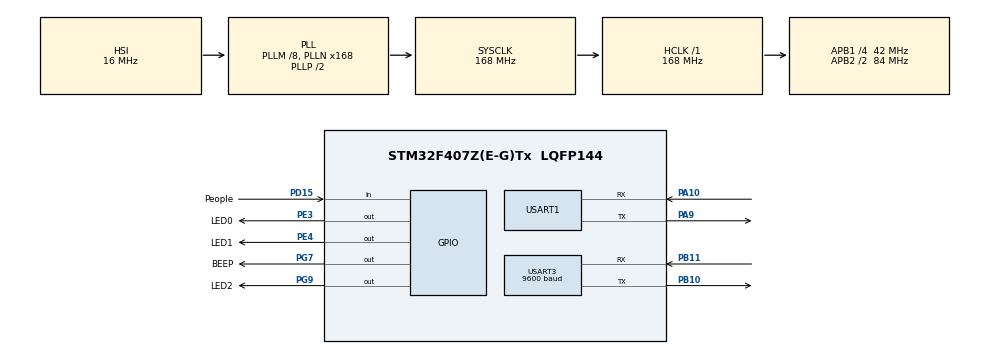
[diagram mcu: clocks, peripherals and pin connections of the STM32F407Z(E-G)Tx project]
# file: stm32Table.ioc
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FREERTOS.Tasks01=defaultTask,-2,128,StartDefaultTask,Default,NULL,Dynamic,NULL,NULL;PeopleTask,1,128,PeopleTaskFunc,Default,NULL,Dynamic,NULL,NULL;BlueTask,0,128,BlueTaskFunc,Default,NULL,Dynamic,NULL,NULL;LEDTask,0,128,LEDTask04,Default,NULL,Dynamic,NULL,NULL;BEEPTask,0,128,BEEPTask05,Default,NULL,Dynamic,NULL,NULL
Mcu.Family=STM32F4
Mcu.Name=STM32F407Z(E-G)Tx
Mcu.Package=LQFP144
NVIC.PriorityGroup=NVIC_PRIORITYGROUP_4
NVIC.USART3_IRQn=true\:5\:0\:false\:false\:true\:true\:true\:true
PA10.Mode=Asynchronous
PA10.Signal=USART1_RX
PA9.Mode=Asynchronous
PA9.Signal=USART1_TX
PB10.Mode=Asynchronous
PB10.Signal=USART3_TX
PB11.Mode=Asynchronous
PB11.Signal=USART3_RX
PD15.GPIO_Label=People
PD15.Signal=GPIO_Input
PE3.GPIO_Label=LED0
PE3.GPIO_Speed=GPIO_SPEED_FREQ_HIGH
PE3.Signal=GPIO_Output
PE4.GPIO_Label=LED1
PE4.GPIO_Speed=GPIO_SPEED_FREQ_HIGH
PE4.Signal=GPIO_Output
PG7.GPIO_Label=BEEP
PG7.Signal=GPIO_Output
PG9.GPIO_Label=LED2
PG9.GPIO_Speed=GPIO_SPEED_FREQ_HIGH
PG9.Signal=GPIO_Output
ProjectManager.HeapSize=0x200
ProjectManager.StackSize=0x400
ProjectManager.TargetToolchain=MDK-ARM V5.27
RCC.48MHZClocksFreq_Value=84000000
RCC.AHBFreq_Value=168000000
RCC.APB1CLKDivider=RCC_HCLK_DIV4
RCC.APB1Freq_Value=42000000
RCC.APB1TimFreq_Value=84000000
RCC.APB2CLKDivider=RCC_HCLK_DIV2
RCC.APB2Freq_Value=84000000
RCC.APB2TimFreq_Value=168000000
RCC.CortexFreq_Value=168000000
RCC.HCLKFreq_Value=168000000
RCC.HSE_VALUE=25000000
RCC.HSI_VALUE=16000000
RCC.LSE_VALUE=32768
RCC.PLLM=8
RCC.PLLN=168
RCC.SYSCLKFreq_VALUE=168000000
RCC.SYSCLKSource=RCC_SYSCLKSOURCE_PLLCLK
RCC.VCOOutputFreq_Value=336000000
USART1.VirtualMode=VM_ASYNC
USART3.BaudRate=9600
USART3.VirtualMode=VM_ASYNC
VP_FREERTOS_VS_CMSIS_V1.Mode=CMSIS_V1
board=custom

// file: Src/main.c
/* USER CODE BEGIN Header */
/**
  ******************************************************************************
  * @file           : main.c
  * @brief          : Main program body
  ******************************************************************************
  * @attention
  *
  * <h2><center>&copy; Copyright (c) 2020 STMicroelectronics.
  * All rights reserved.</center></h2>
  *
  * This software component is licensed by ST under BSD 3-Clause license,
  * the "License"; You may not use this file except in compliance with the
  * License. You may obtain a copy of the License at:
  *                        opensource.org/licenses/BSD-3-Clause
  *
  ******************************************************************************
  */
/* USER CODE END Header */

#include "main.h"
#include "cmsis_os.h"
#include "usart.h"
#include "gpio.h"

/* USER CODE BEGIN Includes */
#include "string.h"
#include "blue.h"
#include "stdio.h"
/* USER CODE END Includes */

void SystemClock_Config(void);
void MX_FREERTOS_Init(void);

int main(void)
{

  /* MCU Configuration--------------------------------------------------------*/

  /* Reset of all peripherals, Initializes the Flash interface and the Systick. */
  HAL_Init();

  /* Configure the system clock */
  SystemClock_Config();

  /* Initialize all configured peripherals */
  MX_GPIO_Init();
  MX_USART1_UART_Init();
  MX_USART3_UART_Init();
  /* USER CODE BEGIN 2 */
  /* config=1时为AT模式,进行密码与名字更改. config=2时正常收发 */
	int config = 2;
	printf("若不想更改蓝牙名和密码,请直接让config=2,该蓝牙密码为123456");
	printf("模式一(AT模式)：config=1时进入该模式,在板子上电之前按住按键(不要松开)，\
          在板子上电后松开按键，此时灯2s闪烁一次,at指令发送更改完名字密码之后，重启板子\r\n");
	printf("模式二(正常发送)：config=2时进入该模式，配对时灯闪烁很快,波特率为9600,什么都不用管，正常收发\r\n");
	printf("当前模式为config=%d,注意\r\n",config);
	if(config==1)
	{
		while(blue_config()==1);
		printf("请更改代码,让config=2，刷入代码后，断电重启！！ 按复位键不行\r\n");
		while(1);
	}

  /* USER CODE END 2 */

  /* Call init function for freertos objects (in freertos.c) */
  MX_FREERTOS_Init();
  /* Start scheduler */
  osKernelStart();

  /* We should never get here as control is now taken by the scheduler */
  /* Infinite loop */
  while (1)
  {

  }
}

void SystemClock_Config(void)
{
  RCC_OscInitTypeDef RCC_OscInitStruct = {0};
  RCC_ClkInitTypeDef RCC_ClkInitStruct = {0};

  /** Configure the main internal regulator output voltage
  */
  __HAL_RCC_PWR_CLK_ENABLE();
  __HAL_PWR_VOLTAGESCALING_CONFIG(PWR_REGULATOR_VOLTAGE_SCALE1);
  /** Initializes the CPU, AHB and APB busses clocks
  */
  RCC_OscInitStruct.OscillatorType = RCC_OSCILLATORTYPE_HSI;
  RCC_OscInitStruct.HSIState = RCC_HSI_ON;
  RCC_OscInitStruct.HSICalibrationValue = RCC_HSICALIBRATION_DEFAULT;
  RCC_OscInitStruct.PLL.PLLState = RCC_PLL_ON;
  RCC_OscInitStruct.PLL.PLLSource = RCC_PLLSOURCE_HSI;
  RCC_OscInitStruct.PLL.PLLM = 8;
  RCC_OscInitStruct.PLL.PLLN = 168;
  RCC_OscInitStruct.PLL.PLLP = RCC_PLLP_DIV2;
  RCC_OscInitStruct.PLL.PLLQ = 4;
  if (HAL_RCC_OscConfig(&RCC_OscInitStruct) != HAL_OK)
  {
    Error_Handler();
  }
  /** Initializes the CPU, AHB and APB busses clocks
  */
  RCC_ClkInitStruct.ClockType = RCC_CLOCKTYPE_HCLK|RCC_CLOCKTYPE_SYSCLK
                              |RCC_CLOCKTYPE_PCLK1|RCC_CLOCKTYPE_PCLK2;
  RCC_ClkInitStruct.SYSCLKSource = RCC_SYSCLKSOURCE_PLLCLK;
  RCC_ClkInitStruct.AHBCLKDivider = RCC_SYSCLK_DIV1;
  RCC_ClkInitStruct.APB1CLKDivider = RCC_HCLK_DIV4;
  RCC_ClkInitStruct.APB2CLKDivider = RCC_HCLK_DIV2;

  if (HAL_RCC_ClockConfig(&RCC_ClkInitStruct, FLASH_LATENCY_5) != HAL_OK)
  {
    Error_Handler();
  }
}

void Error_Handler(void)
{
}

/************************ (C) COPYRIGHT STMicroelectronics *****END OF FILE****/

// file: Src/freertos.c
/* USER CODE BEGIN Header */
/**
  ******************************************************************************
  * File Name          : freertos.c
  * Description        : Code for freertos applications
  ******************************************************************************
  * @attention
  *
  * <h2><center>&copy; Copyright (c) 2020 STMicroelectronics.
  * All rights reserved.</center></h2>
  *
  * This software component is licensed by ST under Ultimate Liberty license
  * SLA0044, the "License"; You may not use this file except in compliance with
  * the License. You may obtain a copy of the License at:
  *                             www.st.com/SLA0044
  *
  ******************************************************************************
  */
/* USER CODE END Header */

#include "FreeRTOS.h"
#include "task.h"
#include "main.h"
#include "cmsis_os.h"

/* USER CODE BEGIN Includes */
#include "stdio.h"
#include "usart.h"
#include "string.h"
#include "blue.h"
/* USER CODE END Includes */

/* USER CODE BEGIN PTD */

//ИЛМе
int IsPeople = 0;
//led
int led = 1;
//beep
int beep = 0;
//blue
char txbuf[100];
/* USER CODE END PTD */

osThreadId defaultTaskHandle;
osThreadId PeopleTaskHandle;
osThreadId BlueTaskHandle;
osThreadId LEDTaskHandle;
osThreadId BEEPTaskHandle;

void StartDefaultTask(void const * argument);
void PeopleTaskFunc(void const * argument);
void BlueTaskFunc(void const * argument);
void LEDTask04(void const * argument);
void BEEPTask05(void const * argument);

void MX_FREERTOS_Init(void); /* (MISRA C 2004 rule 8.1) */

/* GetIdleTaskMemory prototype (linked to static allocation support) */
void vApplicationGetIdleTaskMemory( StaticTask_t **ppxIdleTaskTCBBuffer, StackType_t **ppxIdleTaskStackBuffer, uint32_t *pulIdleTaskStackSize );

/* USER CODE BEGIN GET_IDLE_TASK_MEMORY */
static StaticTask_t xIdleTaskTCBBuffer;
static StackType_t xIdleStack[configMINIMAL_STACK_SIZE];

void vApplicationGetIdleTaskMemory( StaticTask_t **ppxIdleTaskTCBBuffer, StackType_t **ppxIdleTaskStackBuffer, uint32_t *pulIdleTaskStackSize )
{
  *ppxIdleTaskTCBBuffer = &xIdleTaskTCBBuffer;
  *ppxIdleTaskStackBuffer = &xIdleStack[0];
  *pulIdleTaskStackSize = configMINIMAL_STACK_SIZE;
  /* place for user code */
}
/* USER CODE END GET_IDLE_TASK_MEMORY */

void MX_FREERTOS_Init(void) {

  /* Create the thread(s) */
  /* definition and creation of defaultTask */
  osThreadDef(defaultTask, StartDefaultTask, osPriorityLow, 0, 128);
  defaultTaskHandle = osThreadCreate(osThread(defaultTask), NULL);

  /* definition and creation of PeopleTask */
  osThreadDef(PeopleTask, PeopleTaskFunc, osPriorityAboveNormal, 0, 128);
  PeopleTaskHandle = osThreadCreate(osThread(PeopleTask), NULL);

  /* definition and creation of BlueTask */
  osThreadDef(BlueTask, BlueTaskFunc, osPriorityNormal, 0, 128);
  BlueTaskHandle = osThreadCreate(osThread(BlueTask), NULL);

  /* definition and creation of LEDTask */
  osThreadDef(LEDTask, LEDTask04, osPriorityNormal, 0, 128);
  LEDTaskHandle = osThreadCreate(osThread(LEDTask), NULL);

  /* definition and creation of BEEPTask */
  osThreadDef(BEEPTask, BEEPTask05, osPriorityNormal, 0, 128);
  BEEPTaskHandle = osThreadCreate(osThread(BEEPTask), NULL);

}

void StartDefaultTask(void const * argument)
{
  /* USER CODE BEGIN StartDefaultTask */
  /* Infinite loop */
  for(;;)
  {
		printf("Д¬ИПИООсЦґРРЦР\r\n");
    osDelay(1000);
  }
  /* USER CODE END StartDefaultTask */
}

void PeopleTaskFunc(void const * argument)
{
  /* USER CODE BEGIN PeopleTaskFunc */
  /* Infinite loop */
  for(;;)
  {
		printf("ИЛМеИООсЦґРРЦР\r\n");
		if(HAL_GPIO_ReadPin(People_GPIO_Port,People_Pin)==1)
		{
			IsPeople = 1;
		}
		else
		{
			IsPeople = 0;
		}
		printf("people:=%d\r\n",IsPeople);
    osDelay(1000);
  }
  /* USER CODE END PeopleTaskFunc */
}

void BlueTaskFunc(void const * argument)
{
  /* USER CODE BEGIN BlueTaskFunc */
  /* Infinite loop */
  for(;;)
  {
		printf("А¶САИООсЦґРРЦРled=%d,beep=%d\r\n",led,beep);
		sprintf(txbuf,"people=%d,led=%d,beep=%d\r\n",IsPeople,led,beep);
		blue_send(txbuf);
    osDelay(1000);
  }
  /* USER CODE END BlueTaskFunc */
}

void LEDTask04(void const * argument)
{
  /* USER CODE BEGIN LEDTask04 */
  /* Infinite loop */
  for(;;)
  {
		printf("LEDИООсЦґРРЦР\r\n");
		if(led) led = 0;
		else led = 1;
		HAL_GPIO_TogglePin(LED0_GPIO_Port,LED0_Pin);
		HAL_GPIO_TogglePin(LED1_GPIO_Port,LED1_Pin);
		HAL_GPIO_TogglePin(LED2_GPIO_Port,LED2_Pin);
    osDelay(1000);
  }
  /* USER CODE END LEDTask04 */
}

void BEEPTask05(void const * argument)
{
  /* USER CODE BEGIN BEEPTask05 */
  /* Infinite loop */
  for(;;)
  {
		if(beep) beep=0;
		else beep=1;
		//HAL_GPIO_TogglePin(BEEP_GPIO_Port,BEEP_Pin);
    osDelay(1000);
  }
  /* USER CODE END BEEPTask05 */
}

/************************ (C) COPYRIGHT STMicroelectronics *****END OF FILE****/
